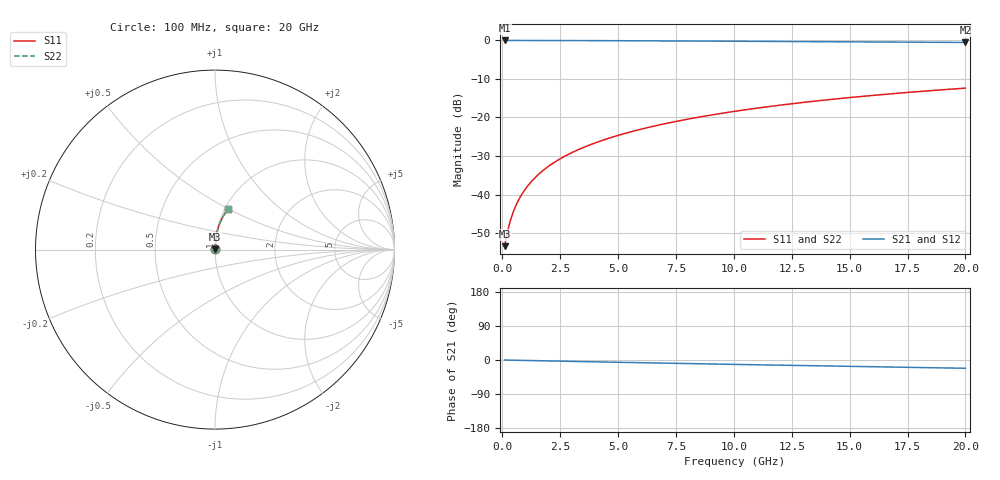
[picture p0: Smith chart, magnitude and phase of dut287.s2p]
! Touchstone file exported from HFSS 2024.1.0
!  File:  C:/UserFiles/LocalFiles/RDL_TSV_Batchsim/temp_RDL_top_287_1778690300.aedt
!  Generated:  12:40:37 AM May 14, 2026
!  Design:  RDL_top
!  Project:  temp_RDL_top_287_1778690300
!  Setup:  Setup1
!  Solution:  Sweep
! Variables:
!  dtsv = 10.80580581um
!  hbump = 3um
!  htsv = 56um
!  ldown = 100um
!  lrdl = 290.77um
!  p = 40
!  p1 = 41.47um
!  rhole = 1um
!  t = 450um
!  tdown = 3.915915916um
!  trdl = 3.97um
!  wdown = 15.38538539um
!  wrdl = 16.35um
# GHz S MA R 50.000000
! Terminal data exported
! Port[1] = Box2_T1
! Port[2] = Box2_T2
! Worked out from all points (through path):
!   200 points, 100 MHz to 20 GHz, reference 50 ohm
!   highest |S21| = -0.02 dB at 100 MHz (marker M1); lowest = -0.5 dB at 20 GHz (marker M2)
!   group delay of S21, straight-line fit = 3.01 ps
!   lowest |S11| = -53.4 dB at 100 MHz (marker M3), VSWR 1.00, Z = 50.2 + j0.124 ohm
!   |S11| at or under -10 dB: start of sweep to end of sweep
!   |S22| runs from -53.4 to -12.4 dB; largest |S21 - S12| = 2.3e-15
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0.1  0.002136 35.5  0.9983 -0.1  0.9983 -0.1  0.002136 35.5
! Gamma 0 0 0 0
! Port Impedance 50 0 50 0
0.2  0.003036 53.6  0.9982 -0.3  0.9982 -0.3  0.003036 53.6
0.3  0.004067 62.7  0.9981 -0.4  0.9981 -0.4  0.004067 62.7
0.4  0.005137 68.1  0.998 -0.5  0.998 -0.5  0.005137 68.1
0.5  0.006227 71.7  0.998 -0.6  0.998 -0.6  0.006227 71.7
0.6  0.007331 74.3  0.9979 -0.8  0.9979 -0.8  0.007331 74.3
0.8  0.009566 77.6  0.9978 -1.0  0.9978 -1.0  0.009566 77.6
1.1  0.01296 80.5  0.9975 -1.4  0.9975 -1.4  0.01296 80.5
1.5  0.01754 82.6  0.9972 -1.9  0.9972 -1.9  0.01754 82.6
1.8  0.02099 83.5  0.9968 -2.2  0.9968 -2.2  0.02099 83.5
2.1  0.02445 84.1  0.9964 -2.6  0.9964 -2.6  0.02445 84.1
2.7  0.03141 84.8  0.9955 -3.3  0.9955 -3.3  0.03141 84.8
3.5  0.04075 85.2  0.994 -4.3  0.994 -4.3  0.04075 85.2
4.2  0.04901 85.2  0.9925 -5.1  0.9925 -5.1  0.04901 85.2
5  0.05853 85.1  0.9905 -6.0  0.9905 -6.0  0.05853 85.1
5.9  0.06935 84.8  0.9881 -7.1  0.9881 -7.1  0.06935 84.8
6.8  0.08027 84.3  0.9855 -8.1  0.9855 -8.1  0.08027 84.3
8.3  0.09866 83.3  0.9809 -9.8  0.9809 -9.8  0.09866 83.3
10.1  0.1209 81.8  0.9751 -11.7  0.9751 -11.7  0.1209 81.8
13.4  0.1617 78.6  0.964 -15.2  0.964 -15.2  0.1617 78.6
16.7  0.2016 75.2  0.9524 -18.5  0.9524 -18.5  0.2016 75.2
20  0.2402 71.8  0.9403 -21.8  0.9403 -21.8  0.2402 71.8
